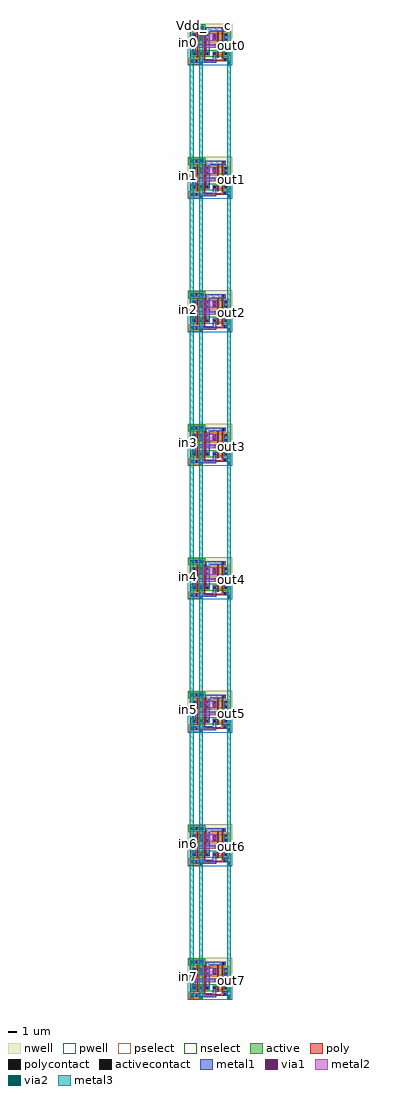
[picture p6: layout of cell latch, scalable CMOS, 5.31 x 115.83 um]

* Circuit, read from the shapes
.subckt latch GND_ Vdd_ c in0 in1 in2 in3 in4 in5 in6 in7 out0 out1 out2 out3 out4 out5 out6 out7
M1 GND_ in7 n1 GND_ nfet w=0.45u l=0.18u
M2 GND_ in6 n2 GND_ nfet w=0.45u l=0.18u
M3 GND_ in5 n3 GND_ nfet w=0.45u l=0.18u
M4 GND_ in4 n4 GND_ nfet w=0.45u l=0.18u
M5 GND_ in3 n5 GND_ nfet w=0.45u l=0.18u
M6 GND_ in2 n6 GND_ nfet w=0.45u l=0.18u
M7 GND_ in1 n7 GND_ nfet w=0.45u l=0.18u
M8 GND_ in0 n8 GND_ nfet w=0.45u l=0.18u
M9 n9 c GND_ GND_ nfet w=0.45u l=0.18u
M10 n10 c GND_ GND_ nfet w=0.45u l=0.18u
M11 n11 c GND_ GND_ nfet w=0.45u l=0.18u
M12 n12 c GND_ GND_ nfet w=0.45u l=0.18u
M13 n13 c GND_ GND_ nfet w=0.45u l=0.18u
M14 n14 c GND_ GND_ nfet w=0.45u l=0.18u
M15 n15 c GND_ GND_ nfet w=0.45u l=0.18u
M16 n16 c GND_ GND_ nfet w=0.45u l=0.18u
M17 n17 n1 GND_ GND_ nfet w=0.45u l=0.18u
M18 n18 n2 GND_ GND_ nfet w=0.45u l=0.18u
M19 n19 n3 GND_ GND_ nfet w=0.45u l=0.18u
M20 n20 n4 GND_ GND_ nfet w=0.45u l=0.18u
M21 n21 n5 GND_ GND_ nfet w=0.45u l=0.18u
M22 n22 n6 GND_ GND_ nfet w=0.45u l=0.18u
M23 n23 n7 GND_ GND_ nfet w=0.45u l=0.18u
M24 n24 n8 GND_ GND_ nfet w=0.45u l=0.18u
M25 out7 c n17 GND_ nfet w=0.45u l=0.18u
M26 out6 c n18 GND_ nfet w=0.45u l=0.18u
M27 out5 c n19 GND_ nfet w=0.45u l=0.18u
M28 out4 c n20 GND_ nfet w=0.45u l=0.18u
M29 out3 c n21 GND_ nfet w=0.45u l=0.18u
M30 out2 c n22 GND_ nfet w=0.45u l=0.18u
M31 out1 c n23 GND_ nfet w=0.45u l=0.18u
M32 out0 c n24 GND_ nfet w=0.45u l=0.18u
M33 Vdd_ in7 n1 Vdd_ pfet w=0.9u l=0.18u
M34 Vdd_ in6 n2 Vdd_ pfet w=0.9u l=0.18u
M35 Vdd_ in5 n3 Vdd_ pfet w=0.9u l=0.18u
M36 Vdd_ in4 n4 Vdd_ pfet w=0.9u l=0.18u
M37 Vdd_ in3 n5 Vdd_ pfet w=0.9u l=0.18u
M38 Vdd_ in2 n6 Vdd_ pfet w=0.9u l=0.18u
M39 Vdd_ in1 n7 Vdd_ pfet w=0.9u l=0.18u
M40 Vdd_ in0 n8 Vdd_ pfet w=0.9u l=0.18u
M41 n9 c Vdd_ Vdd_ pfet w=0.9u l=0.18u
M42 n10 c Vdd_ Vdd_ pfet w=0.9u l=0.18u
M43 n11 c Vdd_ Vdd_ pfet w=0.9u l=0.18u
M44 n12 c Vdd_ Vdd_ pfet w=0.9u l=0.18u
M45 n13 c Vdd_ Vdd_ pfet w=0.9u l=0.18u
M46 n14 c Vdd_ Vdd_ pfet w=0.9u l=0.18u
M47 n15 c Vdd_ Vdd_ pfet w=0.9u l=0.18u
M48 n16 c Vdd_ Vdd_ pfet w=0.9u l=0.18u
M49 n25 n1 Vdd_ Vdd_ pfet w=0.9u l=0.18u
M50 n26 n2 Vdd_ Vdd_ pfet w=0.9u l=0.18u
M51 n27 n3 Vdd_ Vdd_ pfet w=0.9u l=0.18u
M52 n28 n4 Vdd_ Vdd_ pfet w=0.9u l=0.18u
M53 n29 n5 Vdd_ Vdd_ pfet w=0.9u l=0.18u
M54 n30 n6 Vdd_ Vdd_ pfet w=0.9u l=0.18u
M55 n31 n7 Vdd_ Vdd_ pfet w=0.9u l=0.18u
M56 n32 n8 Vdd_ Vdd_ pfet w=0.9u l=0.18u
M57 out7 n9 n25 Vdd_ pfet w=0.9u l=0.18u
M58 out6 n10 n26 Vdd_ pfet w=0.9u l=0.18u
M59 out5 n11 n27 Vdd_ pfet w=0.9u l=0.18u
M60 out4 n12 n28 Vdd_ pfet w=0.9u l=0.18u
M61 out3 n13 n29 Vdd_ pfet w=0.9u l=0.18u
M62 out2 n14 n30 Vdd_ pfet w=0.9u l=0.18u
M63 out1 n15 n31 Vdd_ pfet w=0.9u l=0.18u
M64 out0 n16 n32 Vdd_ pfet w=0.9u l=0.18u
.ends

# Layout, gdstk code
import gdstk
lib = gdstk.Library(unit=1e-6, precision=1e-09)
def R(c, l, rs):  # rectangles x0, y0, x1, y1
    for r in rs: c.add(gdstk.rectangle(r[:2], r[2:], *l))
def A(c, l, x, y, w, h, nx, ny, dx, dy):  # array of equal rectangles
    R(c, l, [(x+i*dx, y+j*dy, x+i*dx+w, y+j*dy+h) for i in range(nx) for j in range(ny)])
pwell = (41, 0)
nwell = (42, 0)
active = (43, 0)
pselect = (44, 0)
nselect = (45, 0)
poly = (46, 0)
polycontact = (47, 0)
activecontact = (48, 0)
metal1 = (49, 0)
via1 = (50, 0)
metal2 = (51, 0)
via2 = (61, 0)
metal3 = (62, 0)

latch_one = lib.new_cell('latch_one')
R(latch_one, pwell, [(-0.99,-6.03,4.32,-3.69)])
R(latch_one, nwell, [(-0.99,-3.69,4.32,-1.08)])
R(latch_one, active, [(-0.72,-5.76,0.36,-5.31), (-0.45,-4.86,1.62,-4.41), (1.98,-4.86,3.78,-4.41), (-0.45,-3.15,1.62,-2.25), (1.98,-3.15,3.78,-2.25), (-0.72,-1.8,0.9,-1.35)])
R(latch_one, pselect, [(-0.9,-5.94,0.54,-5.13), (-0.63,-3.33,3.96,-2.07)])
R(latch_one, nselect, [(-0.63,-5.04,3.96,-4.23), (-0.9,-1.98,1.08,-1.17)])
R(latch_one, poly, [(0.9,-5.58,3.69,-5.4), (0.9,-5.4,1.08,-1.98), (3.06,-5.4,3.69,-5.13), (0.09,-5.13,0.27,-3.51), (2.52,-5.13,2.7,-3.96), (3.06,-5.13,3.24,-4.05), (2.25,-3.96,2.7,-3.51), (-0.99,-3.51,0.27,-3.33), (2.52,-3.51,2.7,-1.98), (3.06,-3.42,3.24,-1.98), (0.09,-3.33,0.27,-1.98), (3.06,-1.98,3.51,-1.53)])
R(latch_one, polycontact, [(3.375,-5.445,3.555,-5.265), (2.385,-3.825,2.565,-3.645), (3.195,-1.845,3.375,-1.665)])
A(latch_one, activecontact, -0.315, -4.725, 0.18, 0.18, 4, 2, 0.81, 1.665)
A(latch_one, activecontact, -0.315, -2.52, 0.18, 0.18, 4, 1, 0.81, 0)
R(latch_one, activecontact, [(-0.54,-5.625,-0.36,-5.445), (0,-5.625,0.18,-5.445), (3.465,-4.725,3.645,-4.545), (3.465,-3.06,3.645,-2.88), (3.465,-2.52,3.645,-2.34), (-0.045,-1.665,0.135,-1.485), (0.495,-1.665,0.675,-1.485)])
R(latch_one, metal1, [(0.36,-6.03,0.81,-5.76), (3.69,-5.94,4.14,-5.58), (-0.72,-5.76,2.43,-5.31), (3.24,-5.58,4.14,-5.13), (0.36,-5.31,0.81,-4.41), (1.98,-5.31,2.43,-4.41), (-0.45,-4.86,0,-2.25), (1.17,-4.86,1.62,-1.98), (3.33,-4.86,3.78,-3.96), (2.25,-3.96,2.7,-3.51), (3.33,-3.96,4.32,-3.51), (3.33,-3.51,3.78,-2.25), (0.36,-3.15,0.81,-1.8), (1.98,-3.15,2.43,-2.25), (1.17,-1.98,3.51,-1.53), (-0.72,-1.8,0.9,-1.35)])
R(latch_one, via1, [(0.45,-5.94,0.72,-5.67), (3.78,-5.85,4.05,-5.58), (-0.36,-3.87,-0.09,-3.6), (2.34,-3.87,2.61,-3.6), (0.45,-2.835,0.72,-2.565), (2.07,-2.835,2.34,-2.565), (-0.63,-1.71,-0.36,-1.44)])
R(latch_one, metal2, [(0.36,-6.03,0.81,-5.58), (3.69,-5.94,4.14,-5.49), (-0.45,-3.96,2.7,-3.51), (0.36,-3.15,2.43,-2.25), (-0.72,-1.8,-0.27,-1.35)])
R(latch_one, via2, [(0.45,-5.94,0.72,-5.67), (3.78,-5.85,4.05,-5.58), (-0.63,-1.71,-0.36,-1.44)])
R(latch_one, metal3, [(0.36,-6.03,0.81,-5.58), (3.69,-5.94,4.14,-5.49), (-0.72,-1.8,-0.27,-1.35)])
latch_one.add(gdstk.Label('c', (0.99,-2.16), layer=46, texttype=0))
latch_one.add(gdstk.Label('out', (3.6,-3.78), layer=49, texttype=0))
latch_one.add(gdstk.Label('Vdd_', (0.18,-1.62), layer=49, texttype=0))
latch_one.add(gdstk.Label('in', (0.18,-3.42), layer=46, texttype=0))
latch_one.add(gdstk.Label('GND_', (0.18,-5.67), layer=49, texttype=0))

latch = lib.new_cell('latch')
A(latch, poly, -35.28, 9.99, 0.18, 0.18, 1, 8, 0, 15.84)
A(latch, metal1, -30.24, 9.45, 0.27, 0.45, 1, 8, 0, 15.84)
R(latch, metal3, [(-35.01,7.56,-34.56,123.12), (-33.93,7.56,-33.48,123.12), (-30.6,7.56,-30.15,123.12)])
latch.add(gdstk.Reference(latch_one, (-34.29,13.41)))
latch.add(gdstk.Reference(latch_one, (-34.29,45.09)))
latch.add(gdstk.Reference(latch_one, (-34.29,76.77)))
latch.add(gdstk.Reference(latch_one, (-34.29,92.61)))
latch.add(gdstk.Reference(latch_one, (-34.29,124.29)))
latch.add(gdstk.Reference(latch_one, (-34.29,108.45)))
latch.add(gdstk.Reference(latch_one, (-34.29,60.93)))
latch.add(gdstk.Reference(latch_one, (-34.29,29.25)))
latch.add(gdstk.Label('in7', (-35.19,10.08), layer=46, texttype=0))
latch.add(gdstk.Label('out7', (-30.105,9.675), layer=49, texttype=0))
latch.add(gdstk.Label('in6', (-35.19,25.92), layer=46, texttype=0))
latch.add(gdstk.Label('out6', (-30.105,25.515), layer=49, texttype=0))
latch.add(gdstk.Label('in5', (-35.19,41.76), layer=46, texttype=0))
latch.add(gdstk.Label('out5', (-30.105,41.355), layer=49, texttype=0))
latch.add(gdstk.Label('in4', (-35.19,57.6), layer=46, texttype=0))
latch.add(gdstk.Label('out4', (-30.105,57.195), layer=49, texttype=0))
latch.add(gdstk.Label('c', (-30.375,122.985), layer=62, texttype=0))
latch.add(gdstk.Label('out0', (-30.105,120.555), layer=49, texttype=0))
latch.add(gdstk.Label('in0', (-35.19,120.96), layer=46, texttype=0))
latch.add(gdstk.Label('Vdd_', (-34.785,122.985), layer=62, texttype=0))
latch.add(gdstk.Label('GND_', (-33.705,122.985), layer=62, texttype=0))
latch.add(gdstk.Label('out1', (-30.105,104.715), layer=49, texttype=0))
latch.add(gdstk.Label('in1', (-35.19,105.12), layer=46, texttype=0))
latch.add(gdstk.Label('out2', (-30.105,88.875), layer=49, texttype=0))
latch.add(gdstk.Label('in2', (-35.19,89.28), layer=46, texttype=0))
latch.add(gdstk.Label('out3', (-30.105,73.035), layer=49, texttype=0))
latch.add(gdstk.Label('in3', (-35.19,73.44), layer=46, texttype=0))

lib.write_gds('latch.gds')
